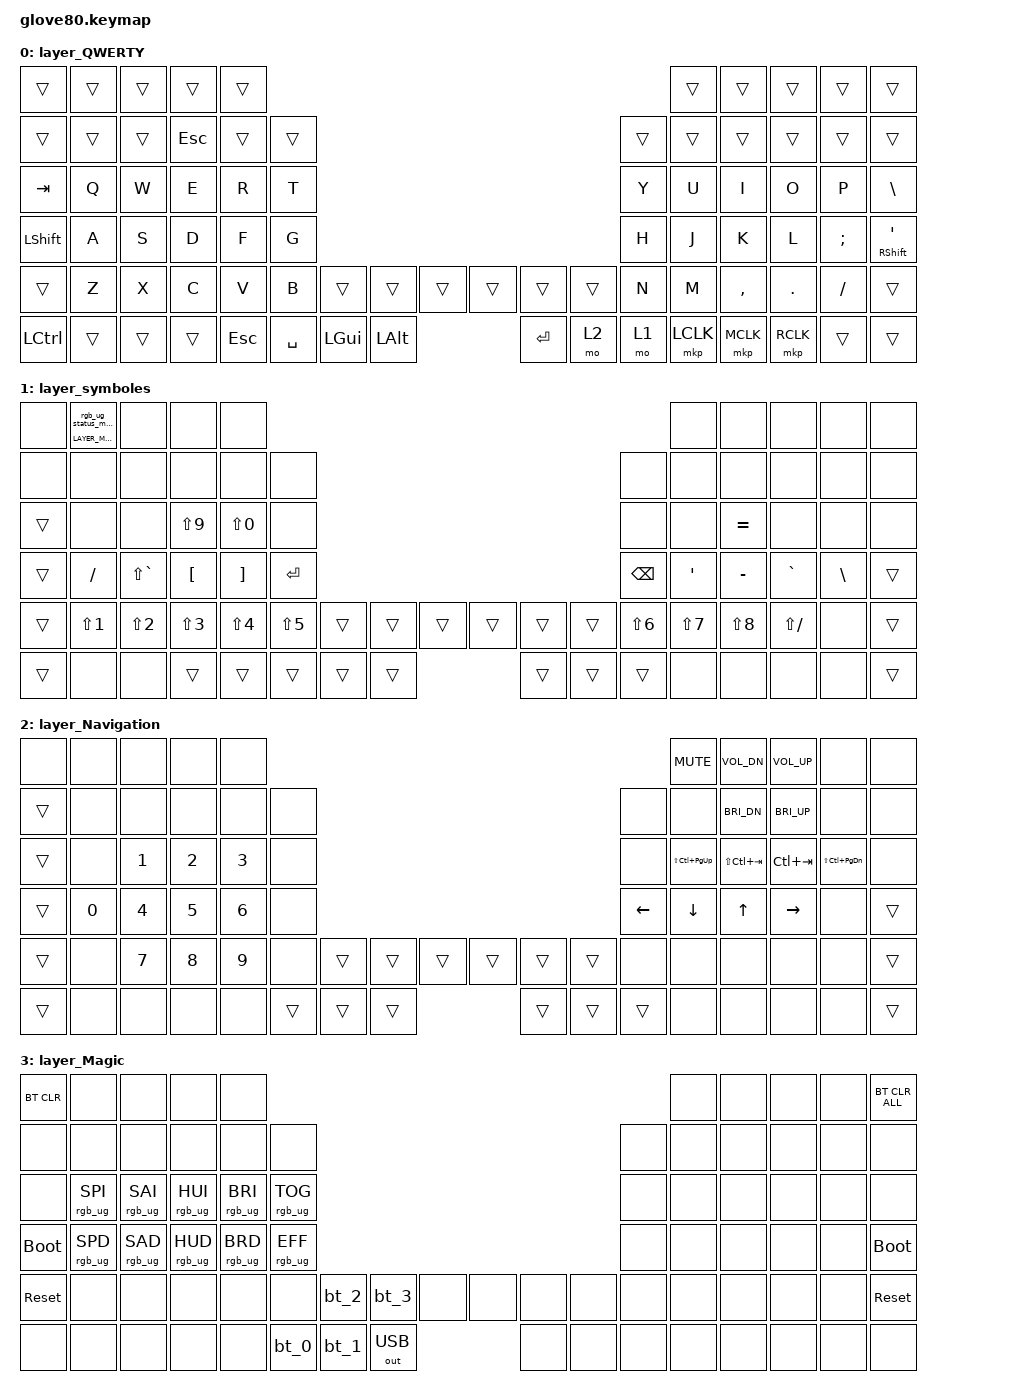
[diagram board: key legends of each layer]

/*
 * Copyright (c) 2020 The ZMK Contributors
 * Copyright (c) 2023 Innaworks Development Limited, trading as MoErgo
 *
 * SPDX-License-Identifier: MIT
 */


/* THIS FILE WAS GENERATED BY GLOVE80 LAYOUT EDITOR
 *
 * This file was generated automatically. You may or may not want to
 * edit it directly.
 */

#include <behaviors.dtsi>
/* Include all behavior includes needed */
#include <dt-bindings/zmk/outputs.h>
#include <dt-bindings/zmk/keys.h>
#include <dt-bindings/zmk/bt.h>
#include <dt-bindings/zmk/rgb.h>

/* On demand includes */


/* Automatically generated layer name #define */
#define LAYER_QWERTY 0
#define LAYER_symboles 1
#define LAYER_Navigation 2
#define LAYER_Magic 3

/* To deal with the situation where there is no Lower layer, to keep &lower happy */
#ifndef LAYER_Lower
#define LAYER_Lower 0
#endif

/* Custom Device-tree */
#include <dt-bindings/zmk/pointing.h>



/* Glove80 system behavior & macros */
/ {
    behaviors {
        // For the "layer" key, it'd nice to be able to use it as either a shift or a toggle.
        // Configure it as a tap dance, so the first tap (or hold) is a &mo and the second tap is a &to
        lower: lower {
            compatible = "zmk,behavior-tap-dance";
            label = "LAYER_TAP_DANCE";
            #binding-cells = <0>;
            tapping-term-ms = <200>;
            bindings = <&mo LAYER_Lower>, <&to LAYER_Lower>;
        };
    };
};

/ {
    macros {
        rgb_ug_status_macro: rgb_ug_status_macro {
            label = "RGB_UG_STATUS";
            compatible = "zmk,behavior-macro";
            #binding-cells = <0>;
            bindings
                = <&rgb_ug RGB_STATUS>;
        };
    };
};


/ {
#ifdef BT_DISC_CMD
    behaviors {
        bt_0: bt_0 {
            compatible = "zmk,behavior-tap-dance";
            label = "BT_0";
            #binding-cells = <0>;
            tapping-term-ms = <200>;
            bindings = <&bt_select_0>, <&bt BT_DISC 0>;
        };
        bt_1: bt_1 {
            compatible = "zmk,behavior-tap-dance";
            label = "BT_1";
            #binding-cells = <0>;
            tapping-term-ms = <200>;
            bindings = <&bt_select_1>, <&bt BT_DISC 1>;
        };
        bt_2: bt_2 {
            compatible = "zmk,behavior-tap-dance";
            label = "BT_2";
            #binding-cells = <0>;
            tapping-term-ms = <200>;
            bindings = <&bt_select_2>, <&bt BT_DISC 2>;
        };
        bt_3: bt_3 {
            compatible = "zmk,behavior-tap-dance";
            label = "BT_3";
            #binding-cells = <0>;
            tapping-term-ms = <200>;
            bindings = <&bt_select_3>, <&bt BT_DISC 3>;
        };
    };
    macros {
        bt_select_0: bt_select_0 {
            label = "BT_SELECT_0";
            compatible = "zmk,behavior-macro";
            #binding-cells = <0>;
            bindings
                = <&out OUT_BLE>,
                  <&bt BT_SEL 0>;
        };
        bt_select_1: bt_select_1 {
            label = "BT_SELECT_1";
            compatible = "zmk,behavior-macro";
            #binding-cells = <0>;
            bindings
                = <&out OUT_BLE>,
                  <&bt BT_SEL 1>;
        };
        bt_select_2: bt_select_2 {
            label = "BT_SELECT_2";
            compatible = "zmk,behavior-macro";
            #binding-cells = <0>;
            bindings
                = <&out OUT_BLE>,
                  <&bt BT_SEL 2>;
        };
        bt_select_3: bt_select_3 {
            label = "BT_SELECT_3";
            compatible = "zmk,behavior-macro";
            #binding-cells = <0>;
            bindings
                = <&out OUT_BLE>,
                  <&bt BT_SEL 3>;
        };
    };
#else
    macros {
        bt_0: bt_0 {
            label = "BT_0";
            compatible = "zmk,behavior-macro";
            #binding-cells = <0>;
            bindings
                = <&out OUT_BLE>,
                  <&bt BT_SEL 0>;
        };
        bt_1: bt_1 {
            label = "BT_1";
            compatible = "zmk,behavior-macro";
            #binding-cells = <0>;
            bindings
                = <&out OUT_BLE>,
                  <&bt BT_SEL 1>;
        };
        bt_2: bt_2 {
            label = "BT_2";
            compatible = "zmk,behavior-macro";
            #binding-cells = <0>;
            bindings
                = <&out OUT_BLE>,
                  <&bt BT_SEL 2>;
        };
        bt_3: bt_3 {
            label = "BT_3";
            compatible = "zmk,behavior-macro";
            #binding-cells = <0>;
            bindings
                = <&out OUT_BLE>,
                  <&bt BT_SEL 3>;
        };
    };
#endif
};

/ {
    behaviors {
        magic: magic {
            compatible = "zmk,behavior-hold-tap";
            label = "MAGIC_HOLD_TAP";
            #binding-cells = <2>;
            flavor = "tap-preferred";
            tapping-term-ms = <200>;
            bindings = <&mo>, <&rgb_ug_status_macro>;
        };
    };
};

/* #define for key positions */
#define POS_LH_T1 52
#define POS_LH_T2 53
#define POS_LH_T3 54
#define POS_LH_T4 69
#define POS_LH_T5 70
#define POS_LH_T6 71
#define POS_LH_C1R2 15
#define POS_LH_C1R3 27
#define POS_LH_C1R4 39
#define POS_LH_C1R5 51
#define POS_LH_C2R1 4
#define POS_LH_C2R2 14
#define POS_LH_C2R3 26
#define POS_LH_C2R4 38
#define POS_LH_C2R5 50
#define POS_LH_C2R6 68
#define POS_LH_C3R1 3
#define POS_LH_C3R2 13
#define POS_LH_C3R3 25
#define POS_LH_C3R4 37
#define POS_LH_C3R5 49
#define POS_LH_C3R6 67
#define POS_LH_C4R1 2
#define POS_LH_C4R2 12
#define POS_LH_C4R3 24
#define POS_LH_C4R4 36
#define POS_LH_C4R5 48
#define POS_LH_C4R6 66
#define POS_LH_C5R1 1
#define POS_LH_C5R2 11
#define POS_LH_C5R3 23
#define POS_LH_C5R4 35
#define POS_LH_C5R5 47
#define POS_LH_C5R6 65
#define POS_LH_C6R1 0
#define POS_LH_C6R2 10
#define POS_LH_C6R3 22
#define POS_LH_C6R4 34
#define POS_LH_C6R5 46
#define POS_LH_C6R6 64
#define POS_RH_T1 57
#define POS_RH_T2 56
#define POS_RH_T3 55
#define POS_RH_T4 74
#define POS_RH_T5 73
#define POS_RH_T6 72
#define POS_RH_C1R2 16
#define POS_RH_C1R3 28
#define POS_RH_C1R4 40
#define POS_RH_C1R5 58
#define POS_RH_C2R1 5
#define POS_RH_C2R2 17
#define POS_RH_C2R3 29
#define POS_RH_C2R4 41
#define POS_RH_C2R5 59
#define POS_RH_C2R6 75
#define POS_RH_C3R1 6
#define POS_RH_C3R2 18
#define POS_RH_C3R3 30
#define POS_RH_C3R4 42
#define POS_RH_C3R5 60
#define POS_RH_C3R6 76
#define POS_RH_C4R1 7
#define POS_RH_C4R2 19
#define POS_RH_C4R3 31
#define POS_RH_C4R4 43
#define POS_RH_C4R5 61
#define POS_RH_C4R6 77
#define POS_RH_C5R1 8
#define POS_RH_C5R2 20
#define POS_RH_C5R3 32
#define POS_RH_C5R4 44
#define POS_RH_C5R5 62
#define POS_RH_C5R6 78
#define POS_RH_C6R1 9
#define POS_RH_C6R2 21
#define POS_RH_C6R3 33
#define POS_RH_C6R4 45
#define POS_RH_C6R5 63
#define POS_RH_C6R6 79

/* Custom Defined Behaviors */
/ {

};

/* Automatically generated macro definitions */
/ {
    macros {

    };
};

/* Automatically generated behavior definitions */
/ {
    behaviors {
    
    };
};

/* Automatically generated combos definitions */


/* Automatically generated keymap */
/ {
    keymap {
        compatible = "zmk,keymap";


        layer_QWERTY {
            bindings = <
    &trans  &trans  &trans   &trans   &trans                                                                             &trans     &trans     &trans    &trans         &trans
    &trans  &trans  &trans  &kp ESC   &trans  &trans                                                          &trans     &trans     &trans     &trans    &trans         &trans
   &kp TAB   &kp Q   &kp W    &kp E    &kp R   &kp T                                                           &kp Y      &kp U      &kp I      &kp O     &kp P       &kp BSLH
 &kp LSHFT   &kp A   &kp S    &kp D    &kp F   &kp G                                                           &kp H      &kp J      &kp K      &kp L  &kp SEMI  &mt RSHFT SQT
    &trans   &kp Z   &kp X    &kp C    &kp V   &kp B     &trans    &trans    &trans   &trans  &trans  &trans   &kp N      &kp M  &kp COMMA    &kp DOT  &kp FSLH         &trans
 &kp LCTRL  &trans  &trans   &trans  &kp ESC          &kp SPACE  &kp LGUI  &kp LALT  &kp RET   &mo 2   &mo 1          &mkp LCLK  &mkp MCLK  &mkp RCLK    &trans         &trans
            >;
        };

        layer_symboles {
            bindings = <
  &none  &magic LAYER_Magic 0          &none       &none       &none                                                                               &none       &none         &none     &none   &none
  &none                 &none          &none       &none       &none       &none                                                       &none       &none       &none         &none     &none   &none
 &trans                 &none          &none  &kp LS(N9)  &kp LS(N0)       &none                                                       &none       &none   &kp EQUAL         &none     &none   &none
 &trans              &kp FSLH  &kp LS(GRAVE)    &kp LBKT    &kp RBKT     &kp RET                                                    &kp BSPC     &kp SQT   &kp MINUS     &kp GRAVE  &kp BSLH  &trans
 &trans            &kp LS(N1)     &kp LS(N2)  &kp LS(N3)  &kp LS(N4)  &kp LS(N5)  &trans  &trans  &trans  &trans  &trans  &trans  &kp LS(N6)  &kp LS(N7)  &kp LS(N8)  &kp LS(FSLH)     &none  &trans
 &trans                 &none          &none      &trans      &trans              &trans  &trans  &trans  &trans  &trans  &trans                   &none       &none         &none     &none  &trans
            >;
        };

        layer_Navigation {
            bindings = <
  &none   &none   &none   &none   &none                                                                           &kp C_MUTE     &kp C_VOL_DN  &kp C_VOL_UP              &none   &none
 &trans   &none   &none   &none   &none   &none                                                     &none              &none     &kp C_BRI_DN  &kp C_BRI_UP              &none   &none
 &trans   &none  &kp N1  &kp N2  &kp N3   &none                                                     &none  &kp LS(LC(PG_UP))  &kp LS(LC(TAB))   &kp LC(TAB)  &kp LS(LC(PG_DN))   &none
 &trans  &kp N0  &kp N4  &kp N5  &kp N6   &none                                                  &kp LEFT           &kp DOWN           &kp UP     &kp RIGHT              &none  &trans
 &trans   &none  &kp N7  &kp N8  &kp N9   &none  &trans  &trans  &trans  &trans  &trans  &trans     &none              &none            &none         &none              &none  &trans
 &trans   &none   &none   &none   &none          &trans  &trans  &trans  &trans  &trans  &trans                        &none            &none         &none              &none  &trans
            >;
        };

        layer_Magic {
            bindings = <
  &bt BT_CLR            &none            &none            &none            &none                                                                                  &none   &none   &none   &none  &bt BT_CLR_ALL
       &none            &none            &none            &none            &none            &none                                                         &none   &none   &none   &none   &none           &none
       &none  &rgb_ug RGB_SPI  &rgb_ug RGB_SAI  &rgb_ug RGB_HUI  &rgb_ug RGB_BRI  &rgb_ug RGB_TOG                                                         &none   &none   &none   &none   &none           &none
 &bootloader  &rgb_ug RGB_SPD  &rgb_ug RGB_SAD  &rgb_ug RGB_HUD  &rgb_ug RGB_BRD  &rgb_ug RGB_EFF                                                         &none   &none   &none   &none   &none     &bootloader
  &sys_reset            &none            &none            &none            &none            &none   &bt_2   &bt_3         &none   &none   &none   &none   &none   &none   &none   &none   &none      &sys_reset
       &none            &none            &none            &none            &none                    &bt_0   &bt_1  &out OUT_USB   &none   &none   &none           &none   &none   &none   &none           &none
            >;
        };

    };
};
